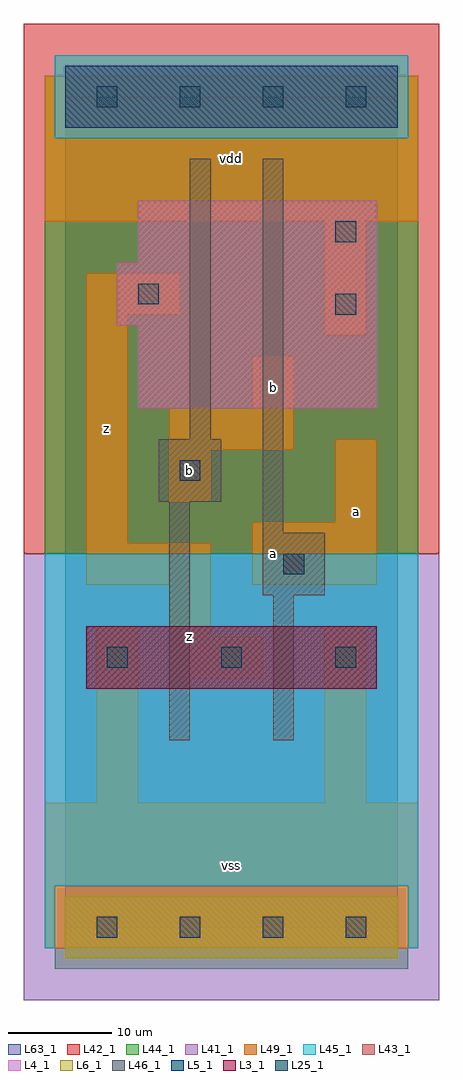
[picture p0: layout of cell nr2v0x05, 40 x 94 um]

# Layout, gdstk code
import gdstk
lib = gdstk.Library(unit=1e-6, precision=1e-09)
def R(c, l, rs):  # rectangles x0, y0, x1, y1
    for r in rs: c.add(gdstk.rectangle(r[:2], r[2:], *l))
def A(c, l, x, y, w, h, nx, ny, dx, dy):  # array of equal rectangles
    R(c, l, [(x+i*dx, y+j*dy, x+i*dx+w, y+j*dy+h) for i in range(nx) for j in range(ny)])
L3_1 = (3, 1)
L4_1 = (4, 1)
L5_1 = (5, 1)
L6_1 = (6, 1)
L25_1 = (25, 1)
L41_1 = (41, 1)
L42_1 = (42, 1)
L43_1 = (43, 1)
L44_1 = (44, 1)
L45_1 = (45, 1)
L46_1 = (46, 1)
L49_1 = (49, 1)
L63_1 = (63, 1)

nr2v0x05 = lib.new_cell('nr2v0x05')
R(nr2v0x05, L3_1, [(2,23,30,29)])
R(nr2v0x05, L4_1, [(7,50,30,58), (5,58,30,64), (7,64,30,70)])
R(nr2v0x05, L5_1, [(0,77,32,83)])
R(nr2v0x05, L6_1, [(0,-3,32,3), (0,-3,32,3)])
A(nr2v0x05, L25_1, 3, -1, 2, 2, 4, 2, 8, 80)
A(nr2v0x05, L25_1, 4, 25, 2, 2, 3, 1, 11, 0)
R(nr2v0x05, L25_1, [(21,34,23,36), (11,43,13,45), (26,59,28,61), (7,60,9,62), (26,66,28,68)])
R(nr2v0x05, L41_1, [(-4,-7,36,36)])
R(nr2v0x05, L42_1, [(-4,36,36,87)])
R(nr2v0x05, L43_1, [(0,-3,32,3), (2,23,30,29), (7,50,30,58), (5,58,30,64), (7,64,30,70), (0,77,32,83)])
R(nr2v0x05, L44_1, [(-1,-4,33,4), (-2,36,34,76), (-2,76,-1,82), (33,76,34,82)])
R(nr2v0x05, L45_1, [(-2,-2,-1,4), (33,-2,34,4), (-2,4,34,36), (-1,76,33,84)])
R(nr2v0x05, L46_1, [(10,18,12,41), (20,18,22,32), (19,32,25,38), (19,38,21,74), (9,41,15,47), (12,47,14,74)])
R(nr2v0x05, L49_1, [(-2,-2,34,12), (3,12,7,29), (25,12,29,29), (10,24,19,28), (10,28,14,33), (2,33,14,37), (18,33,30,39), (2,37,6,59), (26,39,30,47), (10,41,14,46), (10,46,22,50), (18,50,22,55), (25,57,29,68), (2,59,11,63), (-2,68,34,82)])
R(nr2v0x05, L63_1, [(0,0,32,80)])
nr2v0x05.add(gdstk.Label('z', (4,48), layer=49, texttype=1))
nr2v0x05.add(gdstk.Label('z', (12,28), layer=49, texttype=1))
nr2v0x05.add(gdstk.Label('b', (12,44), layer=49, texttype=1))
nr2v0x05.add(gdstk.Label('vss', (16,6), layer=49, texttype=1))
nr2v0x05.add(gdstk.Label('a', (20,36), layer=49, texttype=1))
nr2v0x05.add(gdstk.Label('b', (20,52), layer=49, texttype=1))
nr2v0x05.add(gdstk.Label('vdd', (16,74), layer=49, texttype=1))
nr2v0x05.add(gdstk.Label('a', (28,40), layer=49, texttype=1))

lib.write_gds('nr2v0x05.gds')
